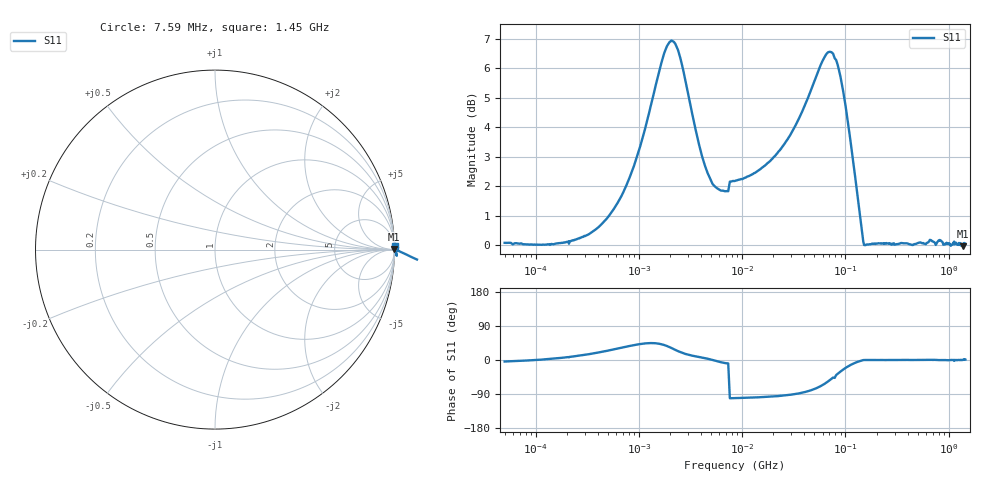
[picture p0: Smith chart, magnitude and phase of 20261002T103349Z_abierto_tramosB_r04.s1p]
! piloto_saltos / abierto_tramosB / r04
# HZ S RI R 50
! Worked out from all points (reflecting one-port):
!   501 points, 50 kHz to 1.45 GHz, reference 50 ohm
!   lowest |S11| = 0.0 dB at 1.369 GHz (marker M1), VSWR 412.04, Z = 1.23e+04 + j1.01e+04 ohm
!   phase of S11 starts at -4 deg and turns +5 deg over the sweep
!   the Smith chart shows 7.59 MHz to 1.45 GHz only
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50000  1.006 -0.0697
182500  1.003 0.1055
381000  1.008 0.3374
678000  1.023 0.6497
1164000  1.147 1.106
1623000  1.499 1.352
1947000  1.808 1.258
2379000  1.966 0.8636
2757000  1.855 0.5587
3000000  1.75 0.4337
4620000  1.323 0.0786
6780000  1.222 -0.1712
8130000  -0.2387 -1.262
8670000  -0.2335 -1.265
1.839e7  -0.1655 -1.376
3.27e7  0.00815 -1.594
4.62e7  0.3172 -1.803
5.7e7  0.707 -1.886
6.51e7  1.056 -1.825
7.32e7  1.376 -1.62
8.67e7  1.652 -1.089
9.75e7  1.633 -0.6962
1.137e8  1.437 -0.3097
1.326e8  1.186 -0.0884
1.542e8  0.9994 -0.000111
4.035e8  1.005 0.00373
1.3695e9  0.9951 0.00396
1.45e9  1.003 0.0186
